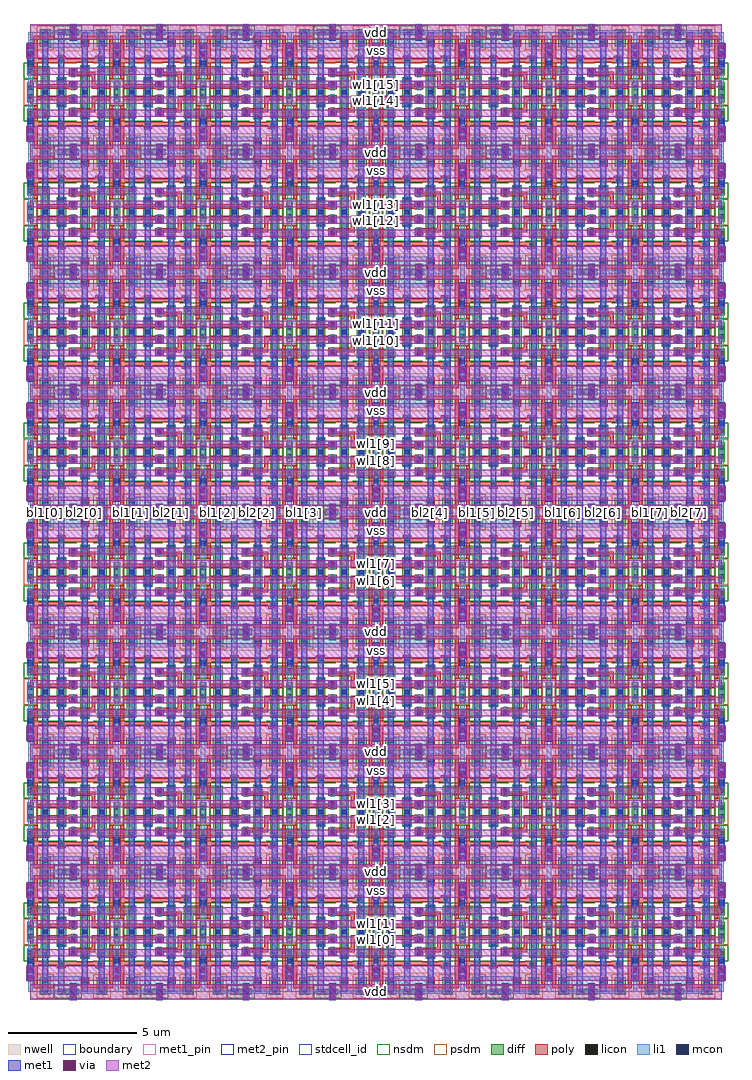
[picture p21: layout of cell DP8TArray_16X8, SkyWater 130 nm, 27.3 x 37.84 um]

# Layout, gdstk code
import gdstk
lib = gdstk.Library(unit=1e-6, precision=1e-09)
def R(c, l, rs):  # rectangles x0, y0, x1, y1
    for r in rs: c.add(gdstk.rectangle(r[:2], r[2:], *l))
def P(c, l, *ps):  # polygons
    for p in ps: c.add(gdstk.Polygon(p, *l))
nwell = (64, 20)
diff = (65, 20)
poly = (66, 20)
licon = (66, 44)
li1 = (67, 20)
mcon = (67, 44)
met1_pin = (68, 16)
met1 = (68, 20)
via = (68, 44)
met2_pin = (69, 16)
met2 = (69, 20)
stdcell_id = (81, 4)
nsdm = (93, 44)
psdm = (94, 20)
boundary = (235, 4)

dp8tcell = lib.new_cell('DP8TCell')
R(dp8tcell, nwell, [(0,1.59,3.35,2.63)])
R(dp8tcell, diff, [(-0.125,-0.38,0.125,0.38), (3.225,-0.38,3.475,0.38), (1.025,-0.125,1.385,0.575), (1.935,-0.125,2.295,1.05), (0.365,1.77,0.785,2.45), (2.565,1.77,2.985,2.45), (1.055,2.2,1.875,2.45)])
P(dp8tcell, diff, [(0.395,-0.125),(0.395,0.65),(-0.125,0.65),(-0.125,1.01),(0.755,1.01),(0.755,-0.125)],
  [(2.595,-0.125),(2.595,1.01),(3.475,1.01),(3.475,0.65),(2.955,0.65),(2.955,-0.125)])
P(dp8tcell, poly, [(3.06,0.52),(3.06,2.035),(2.28,2.035),(2.28,1.76),(1.95,1.76),(1.95,2.185),(3.21,2.185),(3.21,0.52)],
  [(0.14,0.52),(0.14,2.185),(0.915,2.185),(0.915,2.035),(0.29,2.035),(0.29,1.3),(1.04,1.3),(1.04,1.42),(1.37,1.42),(1.37,1.3),(2.52,1.3),(2.52,1.42),(2.85,1.42),(2.85,1.15),(0.29,1.15),(0.29,0.52)],
  [(1.495,0.115),(1.495,0.14),(0.265,0.14),(0.265,0.31),(1.495,0.31),(1.495,0.385),(1.825,0.385),(1.825,0.115)],
  [(2.37,0.14),(2.37,0.615),(1.495,0.615),(1.495,0.885),(1.825,0.885),(1.825,0.785),(2.52,0.785),(2.52,0.31),(3.085,0.31),(3.085,0.14)])
R(dp8tcell, licon, [(-0.085,-0.255,0.085,-0.085), (3.265,-0.255,3.435,-0.085), (0.49,-0.085,0.66,0.085), (1.12,-0.085,1.29,0.085), (2.03,-0.085,2.2,0.085), (2.69,-0.085,2.86,0.085), (-0.085,0.085,0.085,0.255), (3.265,0.085,3.435,0.255), (1.575,0.165,1.745,0.335), (1.12,0.365,1.29,0.535), (1.575,0.665,1.745,0.835), (-0.085,0.745,0.085,0.915), (3.265,0.745,3.435,0.915), (0.465,0.8,0.635,0.97), (2.715,0.8,2.885,0.97), (2.03,0.84,2.2,1.01), (1.12,1.2,1.29,1.37), (2.6,1.2,2.77,1.37), (0.49,1.81,0.66,1.98), (2.03,1.81,2.2,1.98), (2.69,1.81,2.86,1.98), (0.49,2.24,0.66,2.41), (1.21,2.24,1.38,2.41), (1.55,2.24,1.72,2.41), (2.69,2.24,2.86,2.41)])
R(dp8tcell, li1, [(-0.085,-0.335,0.085,2.325), (3.265,-0.335,3.435,2.325), (0.49,-0.165,0.66,0.165), (1.12,-0.165,1.29,0.165), (2.03,-0.165,2.2,0.165), (2.69,-0.165,2.86,0.165), (1.575,0.085,1.745,0.415), (1.575,0.585,1.745,0.915), (0.41,2.24,2.94,2.41)])
P(dp8tcell, li1, [(0.465,0.72),(0.465,1.05),(0.49,1.05),(0.49,2.06),(2.2,2.06),(2.2,1.01),(2.28,1.01),(2.28,0.84),(1.95,0.84),(1.95,1.01),(2.03,1.01),(2.03,1.73),(0.66,1.73),(0.66,0.72)],
  [(2.69,0.72),(2.69,1.12),(2.6,1.12),(2.6,1.45),(2.69,1.45),(2.69,2.06),(2.86,2.06),(2.86,1.05),(2.885,1.05),(2.885,0.72)],
  [(1.04,0.365),(1.04,0.535),(1.12,0.535),(1.12,1.45),(1.29,1.45),(1.29,0.535),(1.37,0.535),(1.37,0.365)])
R(dp8tcell, mcon, [(0.49,-0.085,0.66,0.085), (1.12,-0.085,1.29,0.085), (2.03,-0.085,2.2,0.085), (2.69,-0.085,2.86,0.085), (1.575,0.245,1.745,0.415), (1.575,0.745,1.745,0.915), (-0.085,1.05,0.085,1.22), (3.265,1.05,3.435,1.22), (-0.085,1.41,0.085,1.58), (3.265,1.41,3.435,1.58), (1.575,2.24,1.745,2.41)])
R(dp8tcell, met1_pin, [(0.46,-0.145,0.69,2.325), (1.09,-0.145,1.32,2.325), (2,-0.145,2.23,2.325), (2.66,-0.145,2.89,2.325)])
R(dp8tcell, met1, [(0.46,-0.145,0.69,2.325), (1.09,-0.145,1.32,2.325), (2,-0.145,2.23,2.325), (2.66,-0.145,2.89,2.325), (1.5,0.185,1.82,0.445), (1.5,0.685,1.82,0.945), (1.53,2.005,1.79,2.645)])
P(dp8tcell, met1, [(-0.115,0.99),(-0.115,1.285),(-0.13,1.285),(-0.13,1.925),(0.13,1.925),(0.13,1.285),(0.115,1.285),(0.115,0.99)],
  [(3.235,0.99),(3.235,1.285),(3.22,1.285),(3.22,1.925),(3.48,1.925),(3.48,1.285),(3.465,1.285),(3.465,0.99)])
R(dp8tcell, via, [(1.585,0.24,1.735,0.39), (1.585,0.74,1.735,0.89), (-0.075,1.37,0.075,1.52), (3.275,1.37,3.425,1.52), (-0.075,1.69,0.075,1.84), (3.275,1.69,3.425,1.84), (1.585,2.09,1.735,2.24), (1.585,2.41,1.735,2.56)])
R(dp8tcell, met2_pin, [(0,0.185,3.35,0.445), (0,0.685,3.35,0.945), (-0.16,1.315,3.51,1.895), (0,2.035,3.35,2.615)])
R(dp8tcell, met2, [(0,0.185,3.35,0.445), (0,0.685,3.35,0.945), (-0.16,1.315,3.51,1.895), (0,2.035,3.35,2.615)])
R(dp8tcell, stdcell_id, [(0.39,0.135,0.76,0.315), (1.02,0.135,1.39,0.315), (2.59,0.135,2.96,0.315), (1.93,0.61,2.3,0.79), (0.135,0.645,0.295,1.015), (3.055,0.645,3.215,1.015)])
R(dp8tcell, nsdm, [(0.93,2.075,2,2.575)])
P(dp8tcell, nsdm, [(0.27,-0.25),(0.27,0.525),(-0.25,0.525),(-0.25,1.135),(1.81,1.135),(1.81,1.175),(2.42,1.175),(2.42,1.135),(3.6,1.135),(3.6,0.525),(3.08,0.525),(3.08,-0.25)])
R(dp8tcell, psdm, [(-0.25,-0.505,0.25,0.505), (3.1,-0.505,3.6,0.505), (0.24,1.645,0.91,2.575), (2.44,1.645,3.11,2.575)])
R(dp8tcell, boundary, [(0,0,3.35,2.325)])
dp8tcell.add(gdstk.Label('vss', (1.675,1.605), layer=69, texttype=16))
dp8tcell.add(gdstk.Label('wl1', (1.675,0.315), layer=69, texttype=16))
dp8tcell.add(gdstk.Label('wl2', (1.675,0.815), layer=69, texttype=16))
dp8tcell.add(gdstk.Label('vdd', (1.675,2.325), layer=69, texttype=16))
dp8tcell.add(gdstk.Label('bl1', (0.575,1.09), layer=68, texttype=16))
dp8tcell.add(gdstk.Label('bl1_n', (1.205,1.09), layer=68, texttype=16))
dp8tcell.add(gdstk.Label('bl2', (2.115,1.09), layer=68, texttype=16))
dp8tcell.add(gdstk.Label('bl2_n', (2.775,1.09), layer=68, texttype=16))

dp8tarray_2x1 = lib.new_cell('DP8TArray_2X1')
R(dp8tarray_2x1, met1_pin, [(0.46,0,0.69,4.65), (1.09,0,1.32,4.65), (2,0,2.23,4.65), (2.66,0,2.89,4.65)])
R(dp8tarray_2x1, met1, [(0.46,0,0.69,4.65), (1.09,0,1.32,4.65), (2,0,2.23,4.65), (2.66,0,2.89,4.65)])
R(dp8tarray_2x1, met2_pin, [(0,-0.29,3.35,0.29), (0,1.38,3.35,1.64), (0,1.88,3.35,2.14), (0,2.51,3.35,2.77), (0,3.01,3.35,3.27), (0,3.64,3.35,4.22), (0,4.36,3.35,4.94)])
R(dp8tarray_2x1, met2, [(0,-0.29,3.35,0.29), (0,1.38,3.35,1.64), (0,1.88,3.35,2.14), (0,2.51,3.35,2.77), (0,3.01,3.35,3.27), (0,3.64,3.35,4.22), (0,4.36,3.35,4.94)])
R(dp8tarray_2x1, boundary, [(0,0,3.35,4.65)])
dp8tarray_2x1.add(gdstk.Reference(dp8tcell, (0,2.325), x_reflection=True))
dp8tarray_2x1.add(gdstk.Reference(dp8tcell, (0,2.325)))
dp8tarray_2x1.add(gdstk.Label('vss', (1.675,3.93), layer=69, texttype=16))
dp8tarray_2x1.add(gdstk.Label('vdd', (1.675,4.65), layer=69, texttype=16))
dp8tarray_2x1.add(gdstk.Label('vdd', (1.675,0), layer=69, texttype=16))
dp8tarray_2x1.add(gdstk.Label('wl1[0]', (1.675,2.01), layer=69, texttype=16))
dp8tarray_2x1.add(gdstk.Label('wl2[0]', (1.675,1.51), layer=69, texttype=16))
dp8tarray_2x1.add(gdstk.Label('wl1[1]', (1.675,2.64), layer=69, texttype=16))
dp8tarray_2x1.add(gdstk.Label('wl2[1]', (1.675,3.14), layer=69, texttype=16))
dp8tarray_2x1.add(gdstk.Label('bl1[0]', (0.575,2.325), layer=68, texttype=16))
dp8tarray_2x1.add(gdstk.Label('bl1_n[0]', (1.205,2.325), layer=68, texttype=16))
dp8tarray_2x1.add(gdstk.Label('bl2[0]', (2.115,2.325), layer=68, texttype=16))
dp8tarray_2x1.add(gdstk.Label('bl2_n[0]', (2.775,2.325), layer=68, texttype=16))

dp8tarray_2x2 = lib.new_cell('DP8TArray_2X2')
R(dp8tarray_2x2, met1_pin, [(0.46,0,0.69,4.65), (1.09,0,1.32,4.65), (2,0,2.23,4.65), (2.66,0,2.89,4.65), (3.81,0,4.04,4.65), (4.44,0,4.67,4.65), (5.35,0,5.58,4.65), (6.01,0,6.24,4.65)])
R(dp8tarray_2x2, met1, [(0.46,0,0.69,4.65), (1.09,0,1.32,4.65), (2,0,2.23,4.65), (2.66,0,2.89,4.65), (3.81,0,4.04,4.65), (4.44,0,4.67,4.65), (5.35,0,5.58,4.65), (6.01,0,6.24,4.65)])
R(dp8tarray_2x2, met2_pin, [(0,-0.29,6.7,0.29), (0,1.38,6.7,1.64), (0,1.88,6.7,2.14), (0,2.51,6.7,2.77), (0,3.01,6.7,3.27), (0,3.64,6.7,4.22), (0,4.36,6.7,4.94)])
R(dp8tarray_2x2, met2, [(0,-0.29,6.7,0.29), (0,1.38,6.7,1.64), (0,1.88,6.7,2.14), (0,2.51,6.7,2.77), (0,3.01,6.7,3.27), (0,3.64,6.7,4.22), (0,4.36,6.7,4.94)])
R(dp8tarray_2x2, boundary, [(0,0,6.7,4.65)])
dp8tarray_2x2.add(gdstk.Reference(dp8tarray_2x1, (0,0)))
dp8tarray_2x2.add(gdstk.Reference(dp8tarray_2x1, (3.35,0)))
dp8tarray_2x2.add(gdstk.Label('vss', (3.35,3.93), layer=69, texttype=16))
dp8tarray_2x2.add(gdstk.Label('vdd', (3.35,4.65), layer=69, texttype=16))
dp8tarray_2x2.add(gdstk.Label('vdd', (3.35,0), layer=69, texttype=16))
dp8tarray_2x2.add(gdstk.Label('wl1[0]', (3.35,2.01), layer=69, texttype=16))
dp8tarray_2x2.add(gdstk.Label('wl2[0]', (3.35,1.51), layer=69, texttype=16))
dp8tarray_2x2.add(gdstk.Label('wl1[1]', (3.35,2.64), layer=69, texttype=16))
dp8tarray_2x2.add(gdstk.Label('wl2[1]', (3.35,3.14), layer=69, texttype=16))
dp8tarray_2x2.add(gdstk.Label('bl1[0]', (0.575,2.325), layer=68, texttype=16))
dp8tarray_2x2.add(gdstk.Label('bl1_n[0]', (1.205,2.325), layer=68, texttype=16))
dp8tarray_2x2.add(gdstk.Label('bl2[0]', (2.115,2.325), layer=68, texttype=16))
dp8tarray_2x2.add(gdstk.Label('bl2_n[0]', (2.775,2.325), layer=68, texttype=16))
dp8tarray_2x2.add(gdstk.Label('bl1[1]', (3.925,2.325), layer=68, texttype=16))
dp8tarray_2x2.add(gdstk.Label('bl1_n[1]', (4.555,2.325), layer=68, texttype=16))
dp8tarray_2x2.add(gdstk.Label('bl2[1]', (5.465,2.325), layer=68, texttype=16))
dp8tarray_2x2.add(gdstk.Label('bl2_n[1]', (6.125,2.325), layer=68, texttype=16))

dp8tarray_4x2 = lib.new_cell('DP8TArray_4X2')
R(dp8tarray_4x2, met1_pin, [(0.46,0,0.69,9.3), (1.09,0,1.32,9.3), (2,0,2.23,9.3), (2.66,0,2.89,9.3), (3.81,0,4.04,9.3), (4.44,0,4.67,9.3), (5.35,0,5.58,9.3), (6.01,0,6.24,9.3)])
R(dp8tarray_4x2, met1, [(0.46,0,0.69,9.3), (1.09,0,1.32,9.3), (2,0,2.23,9.3), (2.66,0,2.89,9.3), (3.81,0,4.04,9.3), (4.44,0,4.67,9.3), (5.35,0,5.58,9.3), (6.01,0,6.24,9.3)])
R(dp8tarray_4x2, met2_pin, [(0,-0.29,6.7,0.29), (0,1.38,6.7,1.64), (0,1.88,6.7,2.14), (0,2.51,6.7,2.77), (0,3.01,6.7,3.27), (0,3.64,6.7,4.22), (0,4.36,6.7,4.94), (0,6.03,6.7,6.29), (0,6.53,6.7,6.79), (0,7.16,6.7,7.42), (0,7.66,6.7,7.92), (0,8.29,6.7,8.87), (0,9.01,6.7,9.59)])
R(dp8tarray_4x2, met2, [(0,-0.29,6.7,0.29), (0,1.38,6.7,1.64), (0,1.88,6.7,2.14), (0,2.51,6.7,2.77), (0,3.01,6.7,3.27), (0,3.64,6.7,4.22), (0,4.36,6.7,4.94), (0,6.03,6.7,6.29), (0,6.53,6.7,6.79), (0,7.16,6.7,7.42), (0,7.66,6.7,7.92), (0,8.29,6.7,8.87), (0,9.01,6.7,9.59)])
R(dp8tarray_4x2, boundary, [(0,0,6.7,9.3)])
dp8tarray_4x2.add(gdstk.Reference(dp8tarray_2x2, (0,0)))
dp8tarray_4x2.add(gdstk.Reference(dp8tarray_2x2, (0,4.65)))
dp8tarray_4x2.add(gdstk.Label('vss', (3.35,8.58), layer=69, texttype=16))
dp8tarray_4x2.add(gdstk.Label('vss', (3.35,3.93), layer=69, texttype=16))
dp8tarray_4x2.add(gdstk.Label('vdd', (3.35,4.65), layer=69, texttype=16))
dp8tarray_4x2.add(gdstk.Label('vdd', (3.35,9.3), layer=69, texttype=16))
dp8tarray_4x2.add(gdstk.Label('vdd', (3.35,0), layer=69, texttype=16))
dp8tarray_4x2.add(gdstk.Label('wl1[0]', (3.35,2.01), layer=69, texttype=16))
dp8tarray_4x2.add(gdstk.Label('wl2[0]', (3.35,1.51), layer=69, texttype=16))
dp8tarray_4x2.add(gdstk.Label('wl1[1]', (3.35,2.64), layer=69, texttype=16))
dp8tarray_4x2.add(gdstk.Label('wl2[1]', (3.35,3.14), layer=69, texttype=16))
dp8tarray_4x2.add(gdstk.Label('wl1[2]', (3.35,6.66), layer=69, texttype=16))
dp8tarray_4x2.add(gdstk.Label('wl2[2]', (3.35,6.16), layer=69, texttype=16))
dp8tarray_4x2.add(gdstk.Label('wl1[3]', (3.35,7.29), layer=69, texttype=16))
dp8tarray_4x2.add(gdstk.Label('wl2[3]', (3.35,7.79), layer=69, texttype=16))
dp8tarray_4x2.add(gdstk.Label('bl1[0]', (0.575,4.65), layer=68, texttype=16))
dp8tarray_4x2.add(gdstk.Label('bl1_n[0]', (1.205,4.65), layer=68, texttype=16))
dp8tarray_4x2.add(gdstk.Label('bl2[0]', (2.115,4.65), layer=68, texttype=16))
dp8tarray_4x2.add(gdstk.Label('bl2_n[0]', (2.775,4.65), layer=68, texttype=16))
dp8tarray_4x2.add(gdstk.Label('bl1[1]', (3.925,4.65), layer=68, texttype=16))
dp8tarray_4x2.add(gdstk.Label('bl1_n[1]', (4.555,4.65), layer=68, texttype=16))
dp8tarray_4x2.add(gdstk.Label('bl2[1]', (5.465,4.65), layer=68, texttype=16))
dp8tarray_4x2.add(gdstk.Label('bl2_n[1]', (6.125,4.65), layer=68, texttype=16))

dp8tarray_4x4 = lib.new_cell('DP8TArray_4X4')
R(dp8tarray_4x4, met1_pin, [(0.46,0,0.69,9.3), (1.09,0,1.32,9.3), (2,0,2.23,9.3), (2.66,0,2.89,9.3), (3.81,0,4.04,9.3), (4.44,0,4.67,9.3), (5.35,0,5.58,9.3), (6.01,0,6.24,9.3), (7.16,0,7.39,9.3), (7.79,0,8.02,9.3), (8.7,0,8.93,9.3), (9.36,0,9.59,9.3), (10.51,0,10.74,9.3), (11.14,0,11.37,9.3), (12.05,0,12.28,9.3), (12.71,0,12.94,9.3)])
R(dp8tarray_4x4, met1, [(0.46,0,0.69,9.3), (1.09,0,1.32,9.3), (2,0,2.23,9.3), (2.66,0,2.89,9.3), (3.81,0,4.04,9.3), (4.44,0,4.67,9.3), (5.35,0,5.58,9.3), (6.01,0,6.24,9.3), (7.16,0,7.39,9.3), (7.79,0,8.02,9.3), (8.7,0,8.93,9.3), (9.36,0,9.59,9.3), (10.51,0,10.74,9.3), (11.14,0,11.37,9.3), (12.05,0,12.28,9.3), (12.71,0,12.94,9.3)])
R(dp8tarray_4x4, met2_pin, [(0,-0.29,13.4,0.29), (0,1.38,13.4,1.64), (0,1.88,13.4,2.14), (0,2.51,13.4,2.77), (0,3.01,13.4,3.27), (0,3.64,13.4,4.22), (0,4.36,13.4,4.94), (0,6.03,13.4,6.29), (0,6.53,13.4,6.79), (0,7.16,13.4,7.42), (0,7.66,13.4,7.92), (0,8.29,13.4,8.87), (0,9.01,13.4,9.59)])
R(dp8tarray_4x4, met2, [(0,-0.29,13.4,0.29), (0,1.38,13.4,1.64), (0,1.88,13.4,2.14), (0,2.51,13.4,2.77), (0,3.01,13.4,3.27), (0,3.64,13.4,4.22), (0,4.36,13.4,4.94), (0,6.03,13.4,6.29), (0,6.53,13.4,6.79), (0,7.16,13.4,7.42), (0,7.66,13.4,7.92), (0,8.29,13.4,8.87), (0,9.01,13.4,9.59)])
R(dp8tarray_4x4, boundary, [(0,0,13.4,9.3)])
dp8tarray_4x4.add(gdstk.Reference(dp8tarray_4x2, (0,0)))
dp8tarray_4x4.add(gdstk.Reference(dp8tarray_4x2, (6.7,0)))
dp8tarray_4x4.add(gdstk.Label('vss', (6.7,3.93), layer=69, texttype=16))
dp8tarray_4x4.add(gdstk.Label('vss', (6.7,8.58), layer=69, texttype=16))
dp8tarray_4x4.add(gdstk.Label('vdd', (6.7,0), layer=69, texttype=16))
dp8tarray_4x4.add(gdstk.Label('vdd', (6.7,4.65), layer=69, texttype=16))
dp8tarray_4x4.add(gdstk.Label('vdd', (6.7,9.3), layer=69, texttype=16))
dp8tarray_4x4.add(gdstk.Label('wl1[0]', (6.7,2.01), layer=69, texttype=16))
dp8tarray_4x4.add(gdstk.Label('wl2[0]', (6.7,1.51), layer=69, texttype=16))
dp8tarray_4x4.add(gdstk.Label('wl1[1]', (6.7,2.64), layer=69, texttype=16))
dp8tarray_4x4.add(gdstk.Label('wl2[1]', (6.7,3.14), layer=69, texttype=16))
dp8tarray_4x4.add(gdstk.Label('wl1[2]', (6.7,6.66), layer=69, texttype=16))
dp8tarray_4x4.add(gdstk.Label('wl2[2]', (6.7,6.16), layer=69, texttype=16))
dp8tarray_4x4.add(gdstk.Label('wl1[3]', (6.7,7.29), layer=69, texttype=16))
dp8tarray_4x4.add(gdstk.Label('wl2[3]', (6.7,7.79), layer=69, texttype=16))
dp8tarray_4x4.add(gdstk.Label('bl1[0]', (0.575,4.65), layer=68, texttype=16))
dp8tarray_4x4.add(gdstk.Label('bl1_n[0]', (1.205,4.65), layer=68, texttype=16))
dp8tarray_4x4.add(gdstk.Label('bl2[0]', (2.115,4.65), layer=68, texttype=16))
dp8tarray_4x4.add(gdstk.Label('bl2_n[0]', (2.775,4.65), layer=68, texttype=16))
dp8tarray_4x4.add(gdstk.Label('bl1[1]', (3.925,4.65), layer=68, texttype=16))
dp8tarray_4x4.add(gdstk.Label('bl1_n[1]', (4.555,4.65), layer=68, texttype=16))
dp8tarray_4x4.add(gdstk.Label('bl2[1]', (5.465,4.65), layer=68, texttype=16))
dp8tarray_4x4.add(gdstk.Label('bl2_n[1]', (6.125,4.65), layer=68, texttype=16))
dp8tarray_4x4.add(gdstk.Label('bl1[2]', (7.275,4.65), layer=68, texttype=16))
dp8tarray_4x4.add(gdstk.Label('bl1_n[2]', (7.905,4.65), layer=68, texttype=16))
dp8tarray_4x4.add(gdstk.Label('bl2[2]', (8.815,4.65), layer=68, texttype=16))
dp8tarray_4x4.add(gdstk.Label('bl2_n[2]', (9.475,4.65), layer=68, texttype=16))
dp8tarray_4x4.add(gdstk.Label('bl1[3]', (10.625,4.65), layer=68, texttype=16))
dp8tarray_4x4.add(gdstk.Label('bl1_n[3]', (11.255,4.65), layer=68, texttype=16))
dp8tarray_4x4.add(gdstk.Label('bl2[3]', (12.165,4.65), layer=68, texttype=16))
dp8tarray_4x4.add(gdstk.Label('bl2_n[3]', (12.825,4.65), layer=68, texttype=16))

dp8tarray_8x4 = lib.new_cell('DP8TArray_8X4')
R(dp8tarray_8x4, met1_pin, [(0.46,0,0.69,18.6), (1.09,0,1.32,18.6), (2,0,2.23,18.6), (2.66,0,2.89,18.6), (3.81,0,4.04,18.6), (4.44,0,4.67,18.6), (5.35,0,5.58,18.6), (6.01,0,6.24,18.6), (7.16,0,7.39,18.6), (7.79,0,8.02,18.6), (8.7,0,8.93,18.6), (9.36,0,9.59,18.6), (10.51,0,10.74,18.6), (11.14,0,11.37,18.6), (12.05,0,12.28,18.6), (12.71,0,12.94,18.6)])
R(dp8tarray_8x4, met1, [(0.46,0,0.69,18.6), (1.09,0,1.32,18.6), (2,0,2.23,18.6), (2.66,0,2.89,18.6), (3.81,0,4.04,18.6), (4.44,0,4.67,18.6), (5.35,0,5.58,18.6), (6.01,0,6.24,18.6), (7.16,0,7.39,18.6), (7.79,0,8.02,18.6), (8.7,0,8.93,18.6), (9.36,0,9.59,18.6), (10.51,0,10.74,18.6), (11.14,0,11.37,18.6), (12.05,0,12.28,18.6), (12.71,0,12.94,18.6)])
R(dp8tarray_8x4, met2_pin, [(0,-0.29,13.4,0.29), (0,1.38,13.4,1.64), (0,1.88,13.4,2.14), (0,2.51,13.4,2.77), (0,3.01,13.4,3.27), (0,3.64,13.4,4.22), (0,4.36,13.4,4.94), (0,6.03,13.4,6.29), (0,6.53,13.4,6.79), (0,7.16,13.4,7.42), (0,7.66,13.4,7.92), (0,8.29,13.4,8.87), (0,9.01,13.4,9.59), (0,10.68,13.4,10.94), (0,11.18,13.4,11.44), (0,11.81,13.4,12.07), (0,12.31,13.4,12.57), (0,12.94,13.4,13.52), (0,13.66,13.4,14.24), (0,15.33,13.4,15.59), (0,15.83,13.4,16.09), (0,16.46,13.4,16.72), (0,16.96,13.4,17.22), (0,17.59,13.4,18.17), (0,18.31,13.4,18.89)])
R(dp8tarray_8x4, met2, [(0,-0.29,13.4,0.29), (0,1.38,13.4,1.64), (0,1.88,13.4,2.14), (0,2.51,13.4,2.77), (0,3.01,13.4,3.27), (0,3.64,13.4,4.22), (0,4.36,13.4,4.94), (0,6.03,13.4,6.29), (0,6.53,13.4,6.79), (0,7.16,13.4,7.42), (0,7.66,13.4,7.92), (0,8.29,13.4,8.87), (0,9.01,13.4,9.59), (0,10.68,13.4,10.94), (0,11.18,13.4,11.44), (0,11.81,13.4,12.07), (0,12.31,13.4,12.57), (0,12.94,13.4,13.52), (0,13.66,13.4,14.24), (0,15.33,13.4,15.59), (0,15.83,13.4,16.09), (0,16.46,13.4,16.72), (0,16.96,13.4,17.22), (0,17.59,13.4,18.17), (0,18.31,13.4,18.89)])
R(dp8tarray_8x4, boundary, [(0,0,13.4,18.6)])
dp8tarray_8x4.add(gdstk.Reference(dp8tarray_4x4, (0,0)))
dp8tarray_8x4.add(gdstk.Reference(dp8tarray_4x4, (0,9.3)))
dp8tarray_8x4.add(gdstk.Label('vss', (6.7,3.93), layer=69, texttype=16))
dp8tarray_8x4.add(gdstk.Label('vss', (6.7,8.58), layer=69, texttype=16))
dp8tarray_8x4.add(gdstk.Label('vss', (6.7,13.23), layer=69, texttype=16))
dp8tarray_8x4.add(gdstk.Label('vss', (6.7,17.88), layer=69, texttype=16))
dp8tarray_8x4.add(gdstk.Label('vdd', (6.7,0), layer=69, texttype=16))
dp8tarray_8x4.add(gdstk.Label('vdd', (6.7,13.95), layer=69, texttype=16))
dp8tarray_8x4.add(gdstk.Label('vdd', (6.7,18.6), layer=69, texttype=16))
dp8tarray_8x4.add(gdstk.Label('vdd', (6.7,4.65), layer=69, texttype=16))
dp8tarray_8x4.add(gdstk.Label('vdd', (6.7,9.3), layer=69, texttype=16))
dp8tarray_8x4.add(gdstk.Label('wl1[0]', (6.7,2.01), layer=69, texttype=16))
dp8tarray_8x4.add(gdstk.Label('wl2[0]', (6.7,1.51), layer=69, texttype=16))
dp8tarray_8x4.add(gdstk.Label('wl1[1]', (6.7,2.64), layer=69, texttype=16))
dp8tarray_8x4.add(gdstk.Label('wl2[1]', (6.7,3.14), layer=69, texttype=16))
dp8tarray_8x4.add(gdstk.Label('wl1[2]', (6.7,6.66), layer=69, texttype=16))
dp8tarray_8x4.add(gdstk.Label('wl2[2]', (6.7,6.16), layer=69, texttype=16))
dp8tarray_8x4.add(gdstk.Label('wl1[3]', (6.7,7.29), layer=69, texttype=16))
dp8tarray_8x4.add(gdstk.Label('wl2[3]', (6.7,7.79), layer=69, texttype=16))
dp8tarray_8x4.add(gdstk.Label('wl1[4]', (6.7,11.31), layer=69, texttype=16))
dp8tarray_8x4.add(gdstk.Label('wl2[4]', (6.7,10.81), layer=69, texttype=16))
dp8tarray_8x4.add(gdstk.Label('wl1[5]', (6.7,11.94), layer=69, texttype=16))
dp8tarray_8x4.add(gdstk.Label('wl2[5]', (6.7,12.44), layer=69, texttype=16))
dp8tarray_8x4.add(gdstk.Label('wl1[6]', (6.7,15.96), layer=69, texttype=16))
dp8tarray_8x4.add(gdstk.Label('wl2[6]', (6.7,15.46), layer=69, texttype=16))
dp8tarray_8x4.add(gdstk.Label('wl1[7]', (6.7,16.59), layer=69, texttype=16))
dp8tarray_8x4.add(gdstk.Label('wl2[7]', (6.7,17.09), layer=69, texttype=16))
dp8tarray_8x4.add(gdstk.Label('bl1[0]', (0.575,9.3), layer=68, texttype=16))
dp8tarray_8x4.add(gdstk.Label('bl1_n[0]', (1.205,9.3), layer=68, texttype=16))
dp8tarray_8x4.add(gdstk.Label('bl2[0]', (2.115,9.3), layer=68, texttype=16))
dp8tarray_8x4.add(gdstk.Label('bl2_n[0]', (2.775,9.3), layer=68, texttype=16))
dp8tarray_8x4.add(gdstk.Label('bl1[1]', (3.925,9.3), layer=68, texttype=16))
dp8tarray_8x4.add(gdstk.Label('bl1_n[1]', (4.555,9.3), layer=68, texttype=16))
dp8tarray_8x4.add(gdstk.Label('bl2[1]', (5.465,9.3), layer=68, texttype=16))
dp8tarray_8x4.add(gdstk.Label('bl2_n[1]', (6.125,9.3), layer=68, texttype=16))
dp8tarray_8x4.add(gdstk.Label('bl1[2]', (7.275,9.3), layer=68, texttype=16))
dp8tarray_8x4.add(gdstk.Label('bl1_n[2]', (7.905,9.3), layer=68, texttype=16))
dp8tarray_8x4.add(gdstk.Label('bl2[2]', (8.815,9.3), layer=68, texttype=16))
dp8tarray_8x4.add(gdstk.Label('bl2_n[2]', (9.475,9.3), layer=68, texttype=16))
dp8tarray_8x4.add(gdstk.Label('bl1[3]', (10.625,9.3), layer=68, texttype=16))
dp8tarray_8x4.add(gdstk.Label('bl1_n[3]', (11.255,9.3), layer=68, texttype=16))
dp8tarray_8x4.add(gdstk.Label('bl2[3]', (12.165,9.3), layer=68, texttype=16))
dp8tarray_8x4.add(gdstk.Label('bl2_n[3]', (12.825,9.3), layer=68, texttype=16))

dp8tarray_8x8 = lib.new_cell('DP8TArray_8X8')
R(dp8tarray_8x8, met1_pin, [(0.46,0,0.69,18.6), (1.09,0,1.32,18.6), (2,0,2.23,18.6), (2.66,0,2.89,18.6), (3.81,0,4.04,18.6), (4.44,0,4.67,18.6), (5.35,0,5.58,18.6), (6.01,0,6.24,18.6), (7.16,0,7.39,18.6), (7.79,0,8.02,18.6), (8.7,0,8.93,18.6), (9.36,0,9.59,18.6), (10.51,0,10.74,18.6), (11.14,0,11.37,18.6), (12.05,0,12.28,18.6), (12.71,0,12.94,18.6), (13.86,0,14.09,18.6), (14.49,0,14.72,18.6), (15.4,0,15.63,18.6), (16.06,0,16.29,18.6), (17.21,0,17.44,18.6), (17.84,0,18.07,18.6), (18.75,0,18.98,18.6), (19.41,0,19.64,18.6), (20.56,0,20.79,18.6), (21.19,0,21.42,18.6), (22.1,0,22.33,18.6), (22.76,0,22.99,18.6), (23.91,0,24.14,18.6), (24.54,0,24.77,18.6), (25.45,0,25.68,18.6), (26.11,0,26.34,18.6)])
R(dp8tarray_8x8, met1, [(0.46,0,0.69,18.6), (1.09,0,1.32,18.6), (2,0,2.23,18.6), (2.66,0,2.89,18.6), (3.81,0,4.04,18.6), (4.44,0,4.67,18.6), (5.35,0,5.58,18.6), (6.01,0,6.24,18.6), (7.16,0,7.39,18.6), (7.79,0,8.02,18.6), (8.7,0,8.93,18.6), (9.36,0,9.59,18.6), (10.51,0,10.74,18.6), (11.14,0,11.37,18.6), (12.05,0,12.28,18.6), (12.71,0,12.94,18.6), (13.86,0,14.09,18.6), (14.49,0,14.72,18.6), (15.4,0,15.63,18.6), (16.06,0,16.29,18.6), (17.21,0,17.44,18.6), (17.84,0,18.07,18.6), (18.75,0,18.98,18.6), (19.41,0,19.64,18.6), (20.56,0,20.79,18.6), (21.19,0,21.42,18.6), (22.1,0,22.33,18.6), (22.76,0,22.99,18.6), (23.91,0,24.14,18.6), (24.54,0,24.77,18.6), (25.45,0,25.68,18.6), (26.11,0,26.34,18.6)])
R(dp8tarray_8x8, met2_pin, [(0,-0.29,26.8,0.29), (0,1.38,26.8,1.64), (0,1.88,26.8,2.14), (0,2.51,26.8,2.77), (0,3.01,26.8,3.27), (0,3.64,26.8,4.22), (0,4.36,26.8,4.94), (0,6.03,26.8,6.29), (0,6.53,26.8,6.79), (0,7.16,26.8,7.42), (0,7.66,26.8,7.92), (0,8.29,26.8,8.87), (0,9.01,26.8,9.59), (0,10.68,26.8,10.94), (0,11.18,26.8,11.44), (0,11.81,26.8,12.07), (0,12.31,26.8,12.57), (0,12.94,26.8,13.52), (0,13.66,26.8,14.24), (0,15.33,26.8,15.59), (0,15.83,26.8,16.09), (0,16.46,26.8,16.72), (0,16.96,26.8,17.22), (0,17.59,26.8,18.17), (0,18.31,26.8,18.89)])
R(dp8tarray_8x8, met2, [(0,-0.29,26.8,0.29), (0,1.38,26.8,1.64), (0,1.88,26.8,2.14), (0,2.51,26.8,2.77), (0,3.01,26.8,3.27), (0,3.64,26.8,4.22), (0,4.36,26.8,4.94), (0,6.03,26.8,6.29), (0,6.53,26.8,6.79), (0,7.16,26.8,7.42), (0,7.66,26.8,7.92), (0,8.29,26.8,8.87), (0,9.01,26.8,9.59), (0,10.68,26.8,10.94), (0,11.18,26.8,11.44), (0,11.81,26.8,12.07), (0,12.31,26.8,12.57), (0,12.94,26.8,13.52), (0,13.66,26.8,14.24), (0,15.33,26.8,15.59), (0,15.83,26.8,16.09), (0,16.46,26.8,16.72), (0,16.96,26.8,17.22), (0,17.59,26.8,18.17), (0,18.31,26.8,18.89)])
R(dp8tarray_8x8, boundary, [(0,0,26.8,18.6)])
dp8tarray_8x8.add(gdstk.Reference(dp8tarray_8x4, (0,0)))
dp8tarray_8x8.add(gdstk.Reference(dp8tarray_8x4, (13.4,0)))
dp8tarray_8x8.add(gdstk.Label('vss', (13.4,13.23), layer=69, texttype=16))
dp8tarray_8x8.add(gdstk.Label('vss', (13.4,8.58), layer=69, texttype=16))
dp8tarray_8x8.add(gdstk.Label('vss', (13.4,3.93), layer=69, texttype=16))
dp8tarray_8x8.add(gdstk.Label('vss', (13.4,17.88), layer=69, texttype=16))
dp8tarray_8x8.add(gdstk.Label('vdd', (13.4,0), layer=69, texttype=16))
dp8tarray_8x8.add(gdstk.Label('vdd', (13.4,9.3), layer=69, texttype=16))
dp8tarray_8x8.add(gdstk.Label('vdd', (13.4,13.95), layer=69, texttype=16))
dp8tarray_8x8.add(gdstk.Label('vdd', (13.4,4.65), layer=69, texttype=16))
dp8tarray_8x8.add(gdstk.Label('vdd', (13.4,18.6), layer=69, texttype=16))
dp8tarray_8x8.add(gdstk.Label('wl1[0]', (13.4,2.01), layer=69, texttype=16))
dp8tarray_8x8.add(gdstk.Label('wl2[0]', (13.4,1.51), layer=69, texttype=16))
dp8tarray_8x8.add(gdstk.Label('wl1[1]', (13.4,2.64), layer=69, texttype=16))
dp8tarray_8x8.add(gdstk.Label('wl2[1]', (13.4,3.14), layer=69, texttype=16))
dp8tarray_8x8.add(gdstk.Label('wl1[2]', (13.4,6.66), layer=69, texttype=16))
dp8tarray_8x8.add(gdstk.Label('wl2[2]', (13.4,6.16), layer=69, texttype=16))
dp8tarray_8x8.add(gdstk.Label('wl1[3]', (13.4,7.29), layer=69, texttype=16))
dp8tarray_8x8.add(gdstk.Label('wl2[3]', (13.4,7.79), layer=69, texttype=16))
dp8tarray_8x8.add(gdstk.Label('wl1[4]', (13.4,11.31), layer=69, texttype=16))
dp8tarray_8x8.add(gdstk.Label('wl2[4]', (13.4,10.81), layer=69, texttype=16))
dp8tarray_8x8.add(gdstk.Label('wl1[5]', (13.4,11.94), layer=69, texttype=16))
dp8tarray_8x8.add(gdstk.Label('wl2[5]', (13.4,12.44), layer=69, texttype=16))
dp8tarray_8x8.add(gdstk.Label('wl1[6]', (13.4,15.96), layer=69, texttype=16))
dp8tarray_8x8.add(gdstk.Label('wl2[6]', (13.4,15.46), layer=69, texttype=16))
dp8tarray_8x8.add(gdstk.Label('wl1[7]', (13.4,16.59), layer=69, texttype=16))
dp8tarray_8x8.add(gdstk.Label('wl2[7]', (13.4,17.09), layer=69, texttype=16))
dp8tarray_8x8.add(gdstk.Label('bl1[0]', (0.575,9.3), layer=68, texttype=16))
dp8tarray_8x8.add(gdstk.Label('bl1_n[0]', (1.205,9.3), layer=68, texttype=16))
dp8tarray_8x8.add(gdstk.Label('bl2[0]', (2.115,9.3), layer=68, texttype=16))
dp8tarray_8x8.add(gdstk.Label('bl2_n[0]', (2.775,9.3), layer=68, texttype=16))
dp8tarray_8x8.add(gdstk.Label('bl1[1]', (3.925,9.3), layer=68, texttype=16))
dp8tarray_8x8.add(gdstk.Label('bl1_n[1]', (4.555,9.3), layer=68, texttype=16))
dp8tarray_8x8.add(gdstk.Label('bl2[1]', (5.465,9.3), layer=68, texttype=16))
dp8tarray_8x8.add(gdstk.Label('bl2_n[1]', (6.125,9.3), layer=68, texttype=16))
dp8tarray_8x8.add(gdstk.Label('bl1[2]', (7.275,9.3), layer=68, texttype=16))
dp8tarray_8x8.add(gdstk.Label('bl1_n[2]', (7.905,9.3), layer=68, texttype=16))
dp8tarray_8x8.add(gdstk.Label('bl2[2]', (8.815,9.3), layer=68, texttype=16))
dp8tarray_8x8.add(gdstk.Label('bl2_n[2]', (9.475,9.3), layer=68, texttype=16))
dp8tarray_8x8.add(gdstk.Label('bl1[3]', (10.625,9.3), layer=68, texttype=16))
dp8tarray_8x8.add(gdstk.Label('bl1_n[3]', (11.255,9.3), layer=68, texttype=16))
dp8tarray_8x8.add(gdstk.Label('bl2[3]', (12.165,9.3), layer=68, texttype=16))
dp8tarray_8x8.add(gdstk.Label('bl2_n[3]', (12.825,9.3), layer=68, texttype=16))
dp8tarray_8x8.add(gdstk.Label('bl1[4]', (13.975,9.3), layer=68, texttype=16))
dp8tarray_8x8.add(gdstk.Label('bl1_n[4]', (14.605,9.3), layer=68, texttype=16))
dp8tarray_8x8.add(gdstk.Label('bl2[4]', (15.515,9.3), layer=68, texttype=16))
dp8tarray_8x8.add(gdstk.Label('bl2_n[4]', (16.175,9.3), layer=68, texttype=16))
dp8tarray_8x8.add(gdstk.Label('bl1[5]', (17.325,9.3), layer=68, texttype=16))
dp8tarray_8x8.add(gdstk.Label('bl1_n[5]', (17.955,9.3), layer=68, texttype=16))
dp8tarray_8x8.add(gdstk.Label('bl2[5]', (18.865,9.3), layer=68, texttype=16))
dp8tarray_8x8.add(gdstk.Label('bl2_n[5]', (19.525,9.3), layer=68, texttype=16))
dp8tarray_8x8.add(gdstk.Label('bl1[6]', (20.675,9.3), layer=68, texttype=16))
dp8tarray_8x8.add(gdstk.Label('bl1_n[6]', (21.305,9.3), layer=68, texttype=16))
dp8tarray_8x8.add(gdstk.Label('bl2[6]', (22.215,9.3), layer=68, texttype=16))
dp8tarray_8x8.add(gdstk.Label('bl2_n[6]', (22.875,9.3), layer=68, texttype=16))
dp8tarray_8x8.add(gdstk.Label('bl1[7]', (24.025,9.3), layer=68, texttype=16))
dp8tarray_8x8.add(gdstk.Label('bl1_n[7]', (24.655,9.3), layer=68, texttype=16))
dp8tarray_8x8.add(gdstk.Label('bl2[7]', (25.565,9.3), layer=68, texttype=16))
dp8tarray_8x8.add(gdstk.Label('bl2_n[7]', (26.225,9.3), layer=68, texttype=16))

dp8tarray_16x8 = lib.new_cell('DP8TArray_16X8')
R(dp8tarray_16x8, met1_pin, [(0.46,0,0.69,37.2), (1.09,0,1.32,37.2), (2,0,2.23,37.2), (2.66,0,2.89,37.2), (3.81,0,4.04,37.2), (4.44,0,4.67,37.2), (5.35,0,5.58,37.2), (6.01,0,6.24,37.2), (7.16,0,7.39,37.2), (7.79,0,8.02,37.2), (8.7,0,8.93,37.2), (9.36,0,9.59,37.2), (10.51,0,10.74,37.2), (11.14,0,11.37,37.2), (12.05,0,12.28,37.2), (12.71,0,12.94,37.2), (13.86,0,14.09,37.2), (14.49,0,14.72,37.2), (15.4,0,15.63,37.2), (16.06,0,16.29,37.2), (17.21,0,17.44,37.2), (17.84,0,18.07,37.2), (18.75,0,18.98,37.2), (19.41,0,19.64,37.2), (20.56,0,20.79,37.2), (21.19,0,21.42,37.2), (22.1,0,22.33,37.2), (22.76,0,22.99,37.2), (23.91,0,24.14,37.2), (24.54,0,24.77,37.2), (25.45,0,25.68,37.2), (26.11,0,26.34,37.2)])
R(dp8tarray_16x8, met1, [(0.46,0,0.69,37.2), (1.09,0,1.32,37.2), (2,0,2.23,37.2), (2.66,0,2.89,37.2), (3.81,0,4.04,37.2), (4.44,0,4.67,37.2), (5.35,0,5.58,37.2), (6.01,0,6.24,37.2), (7.16,0,7.39,37.2), (7.79,0,8.02,37.2), (8.7,0,8.93,37.2), (9.36,0,9.59,37.2), (10.51,0,10.74,37.2), (11.14,0,11.37,37.2), (12.05,0,12.28,37.2), (12.71,0,12.94,37.2), (13.86,0,14.09,37.2), (14.49,0,14.72,37.2), (15.4,0,15.63,37.2), (16.06,0,16.29,37.2), (17.21,0,17.44,37.2), (17.84,0,18.07,37.2), (18.75,0,18.98,37.2), (19.41,0,19.64,37.2), (20.56,0,20.79,37.2), (21.19,0,21.42,37.2), (22.1,0,22.33,37.2), (22.76,0,22.99,37.2), (23.91,0,24.14,37.2), (24.54,0,24.77,37.2), (25.45,0,25.68,37.2), (26.11,0,26.34,37.2)])
R(dp8tarray_16x8, met2_pin, [(0,-0.29,26.8,0.29), (0,1.38,26.8,1.64), (0,1.88,26.8,2.14), (0,2.51,26.8,2.77), (0,3.01,26.8,3.27), (0,3.64,26.8,4.22), (0,4.36,26.8,4.94), (0,6.03,26.8,6.29), (0,6.53,26.8,6.79), (0,7.16,26.8,7.42), (0,7.66,26.8,7.92), (0,8.29,26.8,8.87), (0,9.01,26.8,9.59), (0,10.68,26.8,10.94), (0,11.18,26.8,11.44), (0,11.81,26.8,12.07), (0,12.31,26.8,12.57), (0,12.94,26.8,13.52), (0,13.66,26.8,14.24), (0,15.33,26.8,15.59), (0,15.83,26.8,16.09), (0,16.46,26.8,16.72), (0,16.96,26.8,17.22), (0,17.59,26.8,18.17), (0,18.31,26.8,18.89), (0,19.98,26.8,20.24), (0,20.48,26.8,20.74), (0,21.11,26.8,21.37), (0,21.61,26.8,21.87), (0,22.24,26.8,22.82), (0,22.96,26.8,23.54), (0,24.63,26.8,24.89), (0,25.13,26.8,25.39), (0,25.76,26.8,26.02), (0,26.26,26.8,26.52), (0,26.89,26.8,27.47), (0,27.61,26.8,28.19), (0,29.28,26.8,29.54), (0,29.78,26.8,30.04), (0,30.41,26.8,30.67), (0,30.91,26.8,31.17), (0,31.54,26.8,32.12), (0,32.26,26.8,32.84), (0,33.93,26.8,34.19), (0,34.43,26.8,34.69), (0,35.06,26.8,35.32), (0,35.56,26.8,35.82), (0,36.19,26.8,36.77), (0,36.91,26.8,37.49)])
R(dp8tarray_16x8, met2, [(0,-0.29,26.8,0.29), (0,1.38,26.8,1.64), (0,1.88,26.8,2.14), (0,2.51,26.8,2.77), (0,3.01,26.8,3.27), (0,3.64,26.8,4.22), (0,4.36,26.8,4.94), (0,6.03,26.8,6.29), (0,6.53,26.8,6.79), (0,7.16,26.8,7.42), (0,7.66,26.8,7.92), (0,8.29,26.8,8.87), (0,9.01,26.8,9.59), (0,10.68,26.8,10.94), (0,11.18,26.8,11.44), (0,11.81,26.8,12.07), (0,12.31,26.8,12.57), (0,12.94,26.8,13.52), (0,13.66,26.8,14.24), (0,15.33,26.8,15.59), (0,15.83,26.8,16.09), (0,16.46,26.8,16.72), (0,16.96,26.8,17.22), (0,17.59,26.8,18.17), (0,18.31,26.8,18.89), (0,19.98,26.8,20.24), (0,20.48,26.8,20.74), (0,21.11,26.8,21.37), (0,21.61,26.8,21.87), (0,22.24,26.8,22.82), (0,22.96,26.8,23.54), (0,24.63,26.8,24.89), (0,25.13,26.8,25.39), (0,25.76,26.8,26.02), (0,26.26,26.8,26.52), (0,26.89,26.8,27.47), (0,27.61,26.8,28.19), (0,29.28,26.8,29.54), (0,29.78,26.8,30.04), (0,30.41,26.8,30.67), (0,30.91,26.8,31.17), (0,31.54,26.8,32.12), (0,32.26,26.8,32.84), (0,33.93,26.8,34.19), (0,34.43,26.8,34.69), (0,35.06,26.8,35.32), (0,35.56,26.8,35.82), (0,36.19,26.8,36.77), (0,36.91,26.8,37.49)])
R(dp8tarray_16x8, boundary, [(0,0,26.8,37.2)])
dp8tarray_16x8.add(gdstk.Reference(dp8tarray_8x8, (0,0)))
dp8tarray_16x8.add(gdstk.Reference(dp8tarray_8x8, (0,18.6)))
dp8tarray_16x8.add(gdstk.Label('vss', (13.4,22.53), layer=69, texttype=16))
dp8tarray_16x8.add(gdstk.Label('vss', (13.4,3.93), layer=69, texttype=16))
dp8tarray_16x8.add(gdstk.Label('vss', (13.4,17.88), layer=69, texttype=16))
dp8tarray_16x8.add(gdstk.Label('vss', (13.4,27.18), layer=69, texttype=16))
dp8tarray_16x8.add(gdstk.Label('vss', (13.4,8.58), layer=69, texttype=16))
dp8tarray_16x8.add(gdstk.Label('vss', (13.4,36.48), layer=69, texttype=16))
dp8tarray_16x8.add(gdstk.Label('vss', (13.4,13.23), layer=69, texttype=16))
dp8tarray_16x8.add(gdstk.Label('vss', (13.4,31.83), layer=69, texttype=16))
dp8tarray_16x8.add(gdstk.Label('vdd', (13.4,23.25), layer=69, texttype=16))
dp8tarray_16x8.add(gdstk.Label('vdd', (13.4,0), layer=69, texttype=16))
dp8tarray_16x8.add(gdstk.Label('vdd', (13.4,32.55), layer=69, texttype=16))
dp8tarray_16x8.add(gdstk.Label('vdd', (13.4,9.3), layer=69, texttype=16))
dp8tarray_16x8.add(gdstk.Label('vdd', (13.4,13.95), layer=69, texttype=16))
dp8tarray_16x8.add(gdstk.Label('vdd', (13.4,37.2), layer=69, texttype=16))
dp8tarray_16x8.add(gdstk.Label('vdd', (13.4,4.65), layer=69, texttype=16))
dp8tarray_16x8.add(gdstk.Label('vdd', (13.4,18.6), layer=69, texttype=16))
dp8tarray_16x8.add(gdstk.Label('vdd', (13.4,27.9), layer=69, texttype=16))
dp8tarray_16x8.add(gdstk.Label('wl1[0]', (13.4,2.01), layer=69, texttype=16))
dp8tarray_16x8.add(gdstk.Label('wl2[0]', (13.4,1.51), layer=69, texttype=16))
dp8tarray_16x8.add(gdstk.Label('wl1[1]', (13.4,2.64), layer=69, texttype=16))
dp8tarray_16x8.add(gdstk.Label('wl2[1]', (13.4,3.14), layer=69, texttype=16))
dp8tarray_16x8.add(gdstk.Label('wl1[2]', (13.4,6.66), layer=69, texttype=16))
dp8tarray_16x8.add(gdstk.Label('wl2[2]', (13.4,6.16), layer=69, texttype=16))
dp8tarray_16x8.add(gdstk.Label('wl1[3]', (13.4,7.29), layer=69, texttype=16))
dp8tarray_16x8.add(gdstk.Label('wl2[3]', (13.4,7.79), layer=69, texttype=16))
dp8tarray_16x8.add(gdstk.Label('wl1[4]', (13.4,11.31), layer=69, texttype=16))
dp8tarray_16x8.add(gdstk.Label('wl2[4]', (13.4,10.81), layer=69, texttype=16))
dp8tarray_16x8.add(gdstk.Label('wl1[5]', (13.4,11.94), layer=69, texttype=16))
dp8tarray_16x8.add(gdstk.Label('wl2[5]', (13.4,12.44), layer=69, texttype=16))
dp8tarray_16x8.add(gdstk.Label('wl1[6]', (13.4,15.96), layer=69, texttype=16))
dp8tarray_16x8.add(gdstk.Label('wl2[6]', (13.4,15.46), layer=69, texttype=16))
dp8tarray_16x8.add(gdstk.Label('wl1[7]', (13.4,16.59), layer=69, texttype=16))
dp8tarray_16x8.add(gdstk.Label('wl2[7]', (13.4,17.09), layer=69, texttype=16))
dp8tarray_16x8.add(gdstk.Label('wl1[8]', (13.4,20.61), layer=69, texttype=16))
dp8tarray_16x8.add(gdstk.Label('wl2[8]', (13.4,20.11), layer=69, texttype=16))
dp8tarray_16x8.add(gdstk.Label('wl1[9]', (13.4,21.24), layer=69, texttype=16))
dp8tarray_16x8.add(gdstk.Label('wl2[9]', (13.4,21.74), layer=69, texttype=16))
dp8tarray_16x8.add(gdstk.Label('wl1[10]', (13.4,25.26), layer=69, texttype=16))
dp8tarray_16x8.add(gdstk.Label('wl2[10]', (13.4,24.76), layer=69, texttype=16))
dp8tarray_16x8.add(gdstk.Label('wl1[11]', (13.4,25.89), layer=69, texttype=16))
dp8tarray_16x8.add(gdstk.Label('wl2[11]', (13.4,26.39), layer=69, texttype=16))
dp8tarray_16x8.add(gdstk.Label('wl1[12]', (13.4,29.91), layer=69, texttype=16))
dp8tarray_16x8.add(gdstk.Label('wl2[12]', (13.4,29.41), layer=69, texttype=16))
dp8tarray_16x8.add(gdstk.Label('wl1[13]', (13.4,30.54), layer=69, texttype=16))
dp8tarray_16x8.add(gdstk.Label('wl2[13]', (13.4,31.04), layer=69, texttype=16))
dp8tarray_16x8.add(gdstk.Label('wl1[14]', (13.4,34.56), layer=69, texttype=16))
dp8tarray_16x8.add(gdstk.Label('wl2[14]', (13.4,34.06), layer=69, texttype=16))
dp8tarray_16x8.add(gdstk.Label('wl1[15]', (13.4,35.19), layer=69, texttype=16))
dp8tarray_16x8.add(gdstk.Label('wl2[15]', (13.4,35.69), layer=69, texttype=16))
dp8tarray_16x8.add(gdstk.Label('bl1[0]', (0.575,18.6), layer=68, texttype=16))
dp8tarray_16x8.add(gdstk.Label('bl1_n[0]', (1.205,18.6), layer=68, texttype=16))
dp8tarray_16x8.add(gdstk.Label('bl2[0]', (2.115,18.6), layer=68, texttype=16))
dp8tarray_16x8.add(gdstk.Label('bl2_n[0]', (2.775,18.6), layer=68, texttype=16))
dp8tarray_16x8.add(gdstk.Label('bl1[1]', (3.925,18.6), layer=68, texttype=16))
dp8tarray_16x8.add(gdstk.Label('bl1_n[1]', (4.555,18.6), layer=68, texttype=16))
dp8tarray_16x8.add(gdstk.Label('bl2[1]', (5.465,18.6), layer=68, texttype=16))
dp8tarray_16x8.add(gdstk.Label('bl2_n[1]', (6.125,18.6), layer=68, texttype=16))
dp8tarray_16x8.add(gdstk.Label('bl1[2]', (7.275,18.6), layer=68, texttype=16))
dp8tarray_16x8.add(gdstk.Label('bl1_n[2]', (7.905,18.6), layer=68, texttype=16))
dp8tarray_16x8.add(gdstk.Label('bl2[2]', (8.815,18.6), layer=68, texttype=16))
dp8tarray_16x8.add(gdstk.Label('bl2_n[2]', (9.475,18.6), layer=68, texttype=16))
dp8tarray_16x8.add(gdstk.Label('bl1[3]', (10.625,18.6), layer=68, texttype=16))
dp8tarray_16x8.add(gdstk.Label('bl1_n[3]', (11.255,18.6), layer=68, texttype=16))
dp8tarray_16x8.add(gdstk.Label('bl2[3]', (12.165,18.6), layer=68, texttype=16))
dp8tarray_16x8.add(gdstk.Label('bl2_n[3]', (12.825,18.6), layer=68, texttype=16))
dp8tarray_16x8.add(gdstk.Label('bl1[4]', (13.975,18.6), layer=68, texttype=16))
dp8tarray_16x8.add(gdstk.Label('bl1_n[4]', (14.605,18.6), layer=68, texttype=16))
dp8tarray_16x8.add(gdstk.Label('bl2[4]', (15.515,18.6), layer=68, texttype=16))
dp8tarray_16x8.add(gdstk.Label('bl2_n[4]', (16.175,18.6), layer=68, texttype=16))
dp8tarray_16x8.add(gdstk.Label('bl1[5]', (17.325,18.6), layer=68, texttype=16))
dp8tarray_16x8.add(gdstk.Label('bl1_n[5]', (17.955,18.6), layer=68, texttype=16))
dp8tarray_16x8.add(gdstk.Label('bl2[5]', (18.865,18.6), layer=68, texttype=16))
dp8tarray_16x8.add(gdstk.Label('bl2_n[5]', (19.525,18.6), layer=68, texttype=16))
dp8tarray_16x8.add(gdstk.Label('bl1[6]', (20.675,18.6), layer=68, texttype=16))
dp8tarray_16x8.add(gdstk.Label('bl1_n[6]', (21.305,18.6), layer=68, texttype=16))
dp8tarray_16x8.add(gdstk.Label('bl2[6]', (22.215,18.6), layer=68, texttype=16))
dp8tarray_16x8.add(gdstk.Label('bl2_n[6]', (22.875,18.6), layer=68, texttype=16))
dp8tarray_16x8.add(gdstk.Label('bl1[7]', (24.025,18.6), layer=68, texttype=16))
dp8tarray_16x8.add(gdstk.Label('bl1_n[7]', (24.655,18.6), layer=68, texttype=16))
dp8tarray_16x8.add(gdstk.Label('bl2[7]', (25.565,18.6), layer=68, texttype=16))
dp8tarray_16x8.add(gdstk.Label('bl2_n[7]', (26.225,18.6), layer=68, texttype=16))

lib.write_gds('DP8TArray_16X8.gds')
